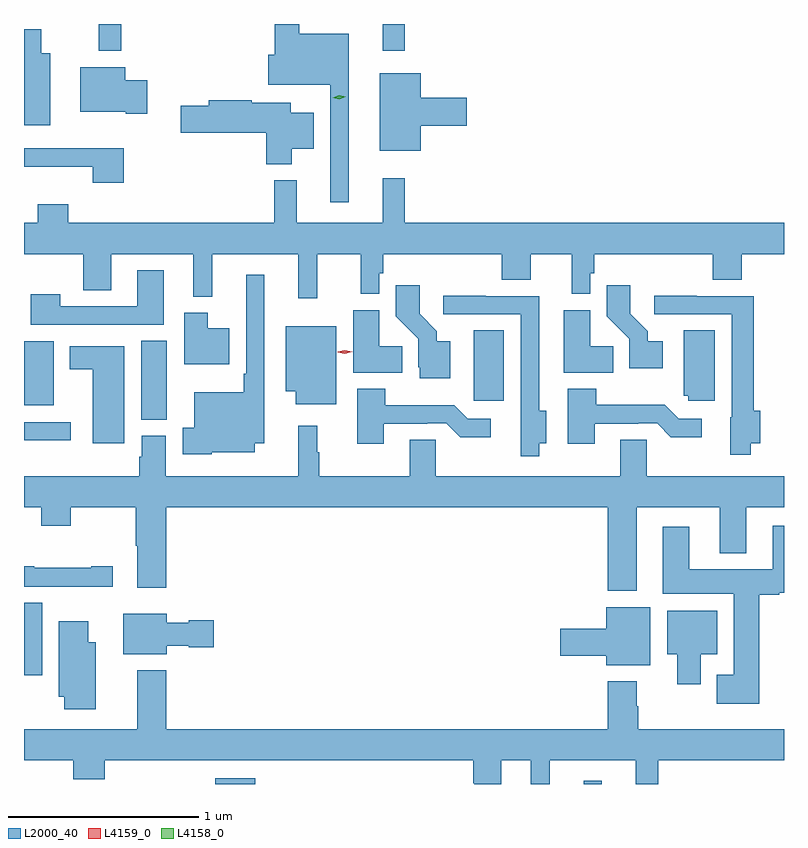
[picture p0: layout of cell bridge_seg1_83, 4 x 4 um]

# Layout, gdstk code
import gdstk
lib = gdstk.Library(unit=1e-6, precision=1e-09)
def R(c, l, rs):  # rectangles x0, y0, x1, y1
    for r in rs: c.add(gdstk.rectangle(r[:2], r[2:], *l))
def P(c, l, *ps):  # polygons
    for p in ps: c.add(gdstk.Polygon(p, *l))
L2000_40 = (2000, 40)
L4158_0 = (4158, 0)
L4159_0 = (4159, 0)

bridge_seg1_83 = lib.new_cell('bridge_seg1_83')
R(bridge_seg1_83, L2000_40, [(545.583,520.971,545.792,521.001), (547.521,520.971,547.618,520.987), (544.576,521.544,544.672,521.924), (544.576,522.779,544.822,522.876), (545.192,522.889,545.326,523.304), (544.576,522.965,544.732,523.3), (546.944,522.987,547.102,523.358)])
P(bridge_seg1_83, L2000_40, [(545.087,524.971),(544.951,524.971),(544.951,524.969),(544.969,524.969),(544.969,524.829),(545.087,524.829)],
  [(546.581,524.971),(546.453,524.971),(546.453,524.969),(546.464,524.969),(546.464,524.829),(546.581,524.829)],
  [(546.286,524.92),(546.025,524.92),(546.025,524.971),(545.896,524.971),(545.896,524.809),(545.862,524.809),(545.862,524.651),(546.189,524.651),(546.189,524.034),(546.286,524.034)],
  [(544.714,524.818),(544.668,524.818),(544.668,524.944),(544.576,524.944),(544.576,524.438),(544.714,524.438)],
  [(545.224,524.676),(545.11,524.676),(545.11,524.743),(544.871,524.743),(544.871,524.51),(545.111,524.51),(545.111,524.498),(545.224,524.498)],
  [(546.664,524.435),(546.907,524.435),(546.907,524.582),(546.664,524.582),(546.664,524.713),(546.449,524.713),(546.449,524.303),(546.664,524.303)],
  [(545.986,524.315),(546.1,524.315),(546.1,524.503),(545.98,524.503),(545.98,524.557),(545.774,524.557),(545.774,524.57),(545.549,524.57),(545.549,524.54),(545.4,524.54),(545.4,524.398),(545.852,524.398),(545.852,524.234),(545.986,524.234)],
  [(545.102,524.318),(544.853,524.318),(544.853,524.316),(544.576,524.316),(544.576,524.219),(544.937,524.219),(544.937,524.136),(545.102,524.136)],
  [(544.808,524.023),(544.648,524.023),(544.648,523.924),(544.576,523.924),(544.576,523.76),(544.888,523.76),(544.888,523.57),(545.035,523.57),(545.035,523.76),(545.468,523.76),(545.468,523.535),(545.567,523.535),(545.567,523.76),(546.02,523.76),(546.02,523.527),(546.12,523.527),(546.12,523.76),(546.349,523.76),(546.349,523.55),(546.447,523.55),(546.447,523.659),(546.467,523.659),(546.467,523.76),(547.091,523.76),(547.091,523.624),(547.243,523.624),(547.243,523.76),(547.46,523.76),(547.46,523.55),(547.557,523.55),(547.557,523.659),(547.577,523.659),(547.577,523.76),(548.201,523.76),(548.201,523.624),(548.353,523.624),(548.353,523.76),(548.576,523.76),(548.576,523.924),(546.581,523.924),(546.581,524.158),(546.464,524.158),(546.464,523.924),(546.011,523.924),(546.011,524.149),(545.893,524.149),(545.893,523.924),(544.808,523.924)],
  [(545.311,523.675),(545.171,523.675),(545.171,523.485),(544.767,523.485),(544.767,523.549),(544.611,523.549),(544.611,523.389),(545.311,523.389)],
  [(545.565,522.716),(545.791,522.716),(545.791,522.764),(545.841,522.764),(545.841,523.651),(545.745,523.651),(545.745,523.129),(545.733,523.129),(545.733,523.033),(545.471,523.033),(545.471,522.846),(545.411,522.846),(545.411,522.707),(545.565,522.707)],
  [(547.939,523.3),(547.858,523.3),(547.858,523.355),(547.768,523.445),(547.768,523.597),(547.642,523.597),(547.642,523.434),(547.761,523.315),(547.761,523.16),(547.939,523.16)],
  [(546.82,523.3),(546.748,523.3),(546.748,523.355),(546.658,523.445),(546.658,523.597),(546.532,523.597),(546.532,523.434),(546.651,523.315),(546.651,523.164),(546.659,523.164),(546.659,523.107),(546.82,523.107)],
  [(547.288,522.764),(547.324,522.764),(547.324,522.935),(547.288,522.935),(547.288,523.539),(547.007,523.539),(547.007,523.542),(546.783,523.542),(546.783,523.443),(547.191,523.443),(547.191,522.918),(547.19,522.918),(547.19,522.696),(547.288,522.696)],
  [(548.4,522.764),(548.452,522.764),(548.452,522.935),(548.417,522.935),(548.417,523.539),(548.117,523.539),(548.117,523.542),(547.893,523.542),(547.893,523.443),(548.301,523.443),(548.301,522.9),(548.294,522.9),(548.294,522.704),(548.4,522.704)],
  [(547.676,523.274),(547.555,523.274),(547.555,523.465),(547.418,523.465),(547.418,523.136),(547.676,523.136)],
  [(546.566,523.274),(546.445,523.274),(546.445,523.465),(546.308,523.465),(546.308,523.136),(546.566,523.136)],
  [(545.656,523.369),(545.542,523.369),(545.542,523.45),(545.42,523.45),(545.42,523.181),(545.656,523.181)],
  [(546.22,523.381),(545.954,523.381),(545.954,523.037),(546.005,523.037),(546.005,522.971),(546.22,522.971)],
  [(548.212,523.358),(548.048,523.358),(548.048,523.014),(548.073,523.014),(548.073,522.987),(548.212,522.987)],
  [(545.104,523.276),(544.817,523.276),(544.817,523.154),(544.937,523.154),(544.937,522.764),(545.104,522.764)],
  [(546.469,522.867),(546.698,522.867),(546.698,522.87),(546.798,522.87),(546.871,522.797),(547.033,522.797),(547.033,522.894),(546.912,522.894),(546.841,522.965),(546.477,522.965),(546.477,523.051),(546.329,523.051),(546.329,522.762),(546.469,522.762)],
  [(547.579,522.867),(547.808,522.867),(547.808,522.87),(547.908,522.87),(547.981,522.797),(548.143,522.797),(548.143,522.894),(548.022,522.894),(547.949,522.967),(547.587,522.967),(547.587,523.051),(547.439,523.051),(547.439,522.762),(547.579,522.762)],
  [(547.801,522.428),(548.237,522.428),(548.237,522.185),(548.377,522.185),(548.377,522.428),(548.576,522.428),(548.576,522.592),(547.854,522.592),(547.854,522.782),(547.715,522.782),(547.715,522.592),(546.744,522.592),(546.744,522.782),(546.605,522.782),(546.605,522.592),(546.13,522.592),(546.13,522.716),(546.119,522.716),(546.119,522.856),(546.019,522.856),(546.019,522.592),(545.323,522.592),(545.323,522.804),(545.195,522.804),(545.195,522.693),(545.183,522.693),(545.183,522.592),(544.576,522.592),(544.576,522.428),(544.666,522.428),(544.666,522.329),(544.821,522.329),(544.821,522.428),(545.164,522.428),(545.164,522.224),(545.171,522.224),(545.171,522.003),(545.324,522.003),(545.324,522.428),(547.649,522.428),(547.649,521.987),(547.801,521.987)],
  [(548.447,521.966),(548.55,521.966),(548.55,521.978),(548.576,521.978),(548.576,522.331),(548.516,522.331),(548.516,522.1),(548.077,522.1),(548.077,522.325),(547.937,522.325),(547.937,521.972),(548.312,521.972),(548.312,521.545),(548.222,521.545),(548.222,521.393),(548.447,521.393)],
  [(545.044,522.118),(544.931,522.118),(544.931,522.108),(544.631,522.108),(544.631,522.118),(544.576,522.118),(544.576,522.009),(544.768,522.009),(544.768,522.008),(545.044,522.008)],
  [(547.873,521.902),(547.64,521.902),(547.64,521.789),(547.398,521.789),(547.398,521.647),(547.64,521.647),(547.64,521.597),(547.873,521.597)],
  [(548.137,521.654),(548.224,521.654),(548.224,521.884),(547.961,521.884),(547.961,521.654),(548.015,521.654),(548.015,521.496),(548.137,521.496)],
  [(545.326,521.699),(545.442,521.699),(545.442,521.692),(545.575,521.692),(545.575,521.834),(545.442,521.834),(545.442,521.821),(545.326,521.821),(545.326,521.866),(545.099,521.866),(545.099,521.654),(545.326,521.654)],
  [(544.954,521.716),(544.915,521.716),(544.915,521.827),(544.76,521.827),(544.76,521.429),(544.789,521.429),(544.789,521.364),(544.954,521.364)],
  [(547.087,521.096),(547.244,521.096),(547.244,520.971),(547.343,520.971),(547.343,521.096),(547.796,521.096),(547.796,520.971),(547.913,520.971),(547.913,521.096),(548.576,521.096),(548.576,521.26),(547.809,521.26),(547.809,521.381),(547.801,521.381),(547.801,521.512),(547.649,521.512),(547.649,521.26),(545.324,521.26),(545.324,521.569),(545.171,521.569),(545.171,521.26),(544.576,521.26),(544.576,521.096),(544.835,521.096),(544.835,520.997),(545,520.997),(545,521.096),(546.94,521.096),(546.94,520.976),(546.947,520.976),(546.947,520.971),(547.087,520.971)])
P(bridge_seg1_83, L4158_0, [(546.235,524.576),(546.2,524.584),(546.2,524.584),(546.2,524.584),(546.234,524.596),(546.27,524.588),(546.27,524.587),(546.27,524.587)])
P(bridge_seg1_83, L4159_0, [(546.265,523.235),(546.226,523.244),(546.226,523.245),(546.226,523.245),(546.265,523.255),(546.304,523.245),(546.304,523.245),(546.304,523.245)])

lib.write_gds('bridge_seg1_83.gds')
